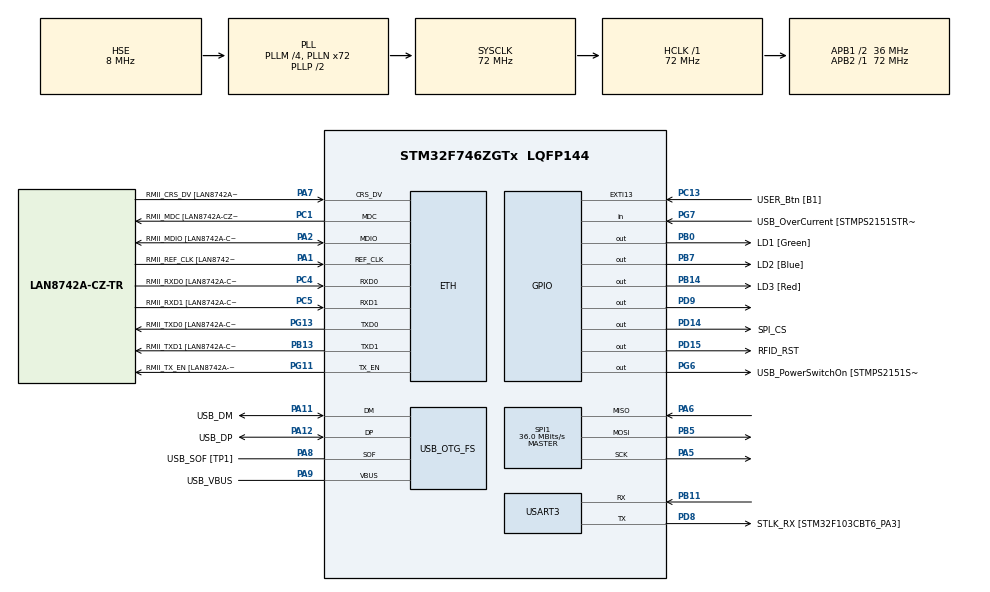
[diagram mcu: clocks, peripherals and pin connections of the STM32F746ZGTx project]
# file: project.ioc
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ETH.MediaInterface=ETH_MEDIA_INTERFACE_RMII
ETH.PHY_Name=LAN8742A_PHY_ADDRESS
ETH.PHY_Value=0
ETH.PhyAddress=0
FREERTOS.Tasks01=defaultTask,0,128,StartDefaultTask,Default,NULL
LWIP.Version=v2.0.3_Cube
Mcu.Family=STM32F7
Mcu.Name=STM32F746ZGTx
Mcu.Package=LQFP144
NVIC.ETH_IRQn=true\:5\:0\:false\:false\:true\:true\:false
NVIC.PriorityGroup=NVIC_PRIORITYGROUP_4
NVIC.TIM1_UP_TIM10_IRQn=true\:0\:0\:false\:false\:true\:false\:false
NVIC.TimeBase=TIM1_UP_TIM10_IRQn
NVIC.TimeBaseIP=TIM1
PA1.GPIO_Label=RMII_REF_CLK [LAN8742A-CZ-TR_REFCLK0]
PA1.Mode=RMII
PA1.Signal=ETH_REF_CLK
PA10.GPIO_Label=USB_ID
PA10.Signal=USB_OTG_FS_ID
PA11.GPIO_Label=USB_DM
PA11.Mode=Device_Only
PA11.Signal=USB_OTG_FS_DM
PA12.GPIO_Label=USB_DP
PA12.Mode=Device_Only
PA12.Signal=USB_OTG_FS_DP
PA13.GPIO_Label=TMS
PA13.Mode=Serial_Wire
PA13.Signal=SYS_JTMS-SWDIO
PA14.GPIO_Label=TCK
PA14.Mode=Serial_Wire
PA14.Signal=SYS_JTCK-SWCLK
PA2.GPIO_Label=RMII_MDIO [LAN8742A-CZ-TR_MDIO]
PA2.Mode=RMII
PA2.Signal=ETH_MDIO
PA5.Mode=Full_Duplex_Master
PA5.Signal=SPI1_SCK
PA6.Mode=Full_Duplex_Master
PA6.Signal=SPI1_MISO
PA7.GPIO_Label=RMII_CRS_DV [LAN8742A-CZ-TR_CRS_DV]
PA7.Mode=RMII
PA7.Signal=ETH_CRS_DV
PA8.GPIO_Label=USB_SOF [TP1]
PA8.Mode=Activate_SOF_FS
PA8.Signal=USB_OTG_FS_SOF
PA9.GPIO_Label=USB_VBUS
PA9.Mode=Activate_VBUS
PA9.Signal=USB_OTG_FS_VBUS
PB0.GPIO_Label=LD1 [Green]
PB0.Signal=GPIO_Output
PB11.Mode=Asynchronous
PB11.Signal=USART3_RX
PB13.GPIO_Label=RMII_TXD1 [LAN8742A-CZ-TR_TXD1]
PB13.Mode=RMII
PB13.Signal=ETH_TXD1
PB14.GPIO_Label=LD3 [Red]
PB14.Signal=GPIO_Output
PB3.GPIO_Label=SW0
PB3.Signal=SYS_JTDO-SWO
PB5.Mode=Full_Duplex_Master
PB5.Signal=SPI1_MOSI
PB7.GPIO_Label=LD2 [Blue]
PB7.Signal=GPIO_Output
PC1.GPIO_Label=RMII_MDC [LAN8742A-CZ-TR_MDC]
PC1.Mode=RMII
PC1.Signal=ETH_MDC
PC13.GPIO_Label=USER_Btn [B1]
PC13.Signal=GPXTI13
PC14/OSC32_IN.Mode=LSE-External-Oscillator
PC14/OSC32_IN.Signal=RCC_OSC32_IN
PC15/OSC32_OUT.Mode=LSE-External-Oscillator
PC15/OSC32_OUT.Signal=RCC_OSC32_OUT
PC4.GPIO_Label=RMII_RXD0 [LAN8742A-CZ-TR_RXD0]
PC4.Mode=RMII
PC4.Signal=ETH_RXD0
PC5.GPIO_Label=RMII_RXD1 [LAN8742A-CZ-TR_RXD1]
PC5.Mode=RMII
PC5.Signal=ETH_RXD1
PD14.GPIO_Label=SPI_CS
PD14.PinState=GPIO_PIN_SET
PD14.Signal=GPIO_Output
PD15.GPIO_Label=RFID_RST
PD15.PinState=GPIO_PIN_SET
PD15.Signal=GPIO_Output
PD8.GPIO_Label=STLK_RX [STM32F103CBT6_PA3]
PD8.Mode=Asynchronous
PD8.Signal=USART3_TX
PD9.Signal=GPIO_Output
PG11.GPIO_Label=RMII_TX_EN [LAN8742A-CZ-TR_TXEN]
PG11.Mode=RMII
PG11.Signal=ETH_TX_EN
PG13.GPIO_Label=RMII_TXD0 [LAN8742A-CZ-TR_TXD0]
PG13.Mode=RMII
PG13.Signal=ETH_TXD0
PG6.GPIO_Label=USB_PowerSwitchOn [STMPS2151STR_EN]
PG6.Signal=GPIO_Output
PG7.GPIO_Label=USB_OverCurrent [STMPS2151STR_FAULT]
PG7.Signal=GPIO_Input
PH0/OSC_IN.GPIO_Label=MCO [STM32F103CBT6_PA8]
PH0/OSC_IN.Mode=HSE-External-Clock-Source
PH0/OSC_IN.Signal=RCC_OSC_IN
PH1/OSC_OUT.Mode=HSE-External-Clock-Source
PH1/OSC_OUT.Signal=RCC_OSC_OUT
ProjectManager.HeapSize=0x200
ProjectManager.StackSize=0x400
ProjectManager.TargetToolchain=TrueSTUDIO
RCC.48MHZClocksFreq_Value=24000000
RCC.AHBFreq_Value=72000000
RCC.APB1CLKDivider=RCC_HCLK_DIV2
RCC.APB1Freq_Value=36000000
RCC.APB1TimFreq_Value=72000000
RCC.APB2Freq_Value=72000000
RCC.APB2TimFreq_Value=72000000
RCC.CortexFreq_Value=72000000
RCC.HCLKFreq_Value=72000000
RCC.HSE_VALUE=8000000
RCC.HSI_VALUE=16000000
RCC.PLLM=4
RCC.PLLMUL=RCC_PLL_MUL9
RCC.PLLN=72
RCC.PLLQ=3
RCC.PRESCALERUSB=RCC_USBCLKSOURCE_PLL_DIV1_5
RCC.SYSCLKFreq_VALUE=72000000
RCC.SYSCLKSource=RCC_SYSCLKSOURCE_PLLCLK
RCC.SYSCLKSourceVirtual=RCC_SYSCLKSOURCE_PLLCLK
RCC.USBFreq_Value=48000000
RCC.VCOOutputFreq_Value=144000000
SPI1.CalculateBaudRate=36.0 MBits/s
SPI1.Direction=SPI_DIRECTION_2LINES
SPI1.Mode=SPI_MODE_MASTER
SPI1.VirtualType=VM_MASTER
USART3.VirtualMode-Asynchronous=VM_ASYNC
USB_OTG_FS.VirtualMode=Device_Only
VP_FREERTOS_VS_ENABLE.Mode=Enabled
VP_LWIP_VS_Enabled.Mode=Enabled
VP_SYS_VS_tim1.Mode=TIM1
board=NUCLEO-F746ZG

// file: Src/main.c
/**
  ******************************************************************************
  * @file           : main.c
  * @brief          : Main program body
  ******************************************************************************
  * This notice applies to any and all portions of this file
  * that are not between comment pairs USER CODE BEGIN and
  * USER CODE END. Other portions of this file, whether
  * inserted by the user or by software development tools
  * are owned by their respective copyright owners.
  *
  * Copyright (c) 2018 STMicroelectronics International N.V.
  * All rights reserved.
  *
  * Redistribution and use in source and binary forms, with or without
  * modification, are permitted, provided that the following conditions are met:
  *
  * 1. Redistribution of source code must retain the above copyright notice,
  *    this list of conditions and the following disclaimer.
  * 2. Redistributions in binary form must reproduce the above copyright notice,
  *    this list of conditions and the following disclaimer in the documentation
  *    and/or other materials provided with the distribution.
  * 3. Neither the name of STMicroelectronics nor the names of other
  *    contributors to this software may be used to endorse or promote products
  *    derived from this software without specific written permission.
  * 4. This software, including modifications and/or derivative works of this
  *    software, must execute solely and exclusively on microcontroller or
  *    microprocessor devices manufactured by or for STMicroelectronics.
  * 5. Redistribution and use of this software other than as permitted under
  *    this license is void and will automatically terminate your rights under
  *    this license.
  *
  * THIS SOFTWARE IS PROVIDED BY STMICROELECTRONICS AND CONTRIBUTORS "AS IS"
  * AND ANY EXPRESS, IMPLIED OR STATUTORY WARRANTIES, INCLUDING, BUT NOT
  * LIMITED TO, THE IMPLIED WARRANTIES OF MERCHANTABILITY, FITNESS FOR A
  * PARTICULAR PURPOSE AND NON-INFRINGEMENT OF THIRD PARTY INTELLECTUAL PROPERTY
  * RIGHTS ARE DISCLAIMED TO THE FULLEST EXTENT PERMITTED BY LAW. IN NO EVENT
  * SHALL STMICROELECTRONICS OR CONTRIBUTORS BE LIABLE FOR ANY DIRECT, INDIRECT,
  * INCIDENTAL, SPECIAL, EXEMPLARY, OR CONSEQUENTIAL DAMAGES (INCLUDING, BUT NOT
  * LIMITED TO, PROCUREMENT OF SUBSTITUTE GOODS OR SERVICES; LOSS OF USE, DATA,
  * OR PROFITS; OR BUSINESS INTERRUPTION) HOWEVER CAUSED AND ON ANY THEORY OF
  * LIABILITY, WHETHER IN CONTRACT, STRICT LIABILITY, OR TORT (INCLUDING
  * NEGLIGENCE OR OTHERWISE) ARISING IN ANY WAY OUT OF THE USE OF THIS SOFTWARE,
  * EVEN IF ADVISED OF THE POSSIBILITY OF SUCH DAMAGE.
  *
  ******************************************************************************
  */
#include "main.h"
#include "stm32f7xx_hal.h"
#include "cmsis_os.h"
#include "lwip.h"

/* USER CODE BEGIN Includes */

#include "rfid-rc522.h"
#include "term_io.h"
#include "httpserver-netconn.h"
#include "tag_scanner.h"

/* USER CODE END Includes */

SPI_HandleTypeDef hspi1;
UART_HandleTypeDef huart3;
PCD_HandleTypeDef hpcd_USB_OTG_FS;
osThreadId defaultTaskHandle;

/* USER CODE BEGIN PV */
/* Private variables ---------------------------------------------------------*/
extern struct netif gnetif;
int privilage_status = OTHER_PRIVILAGE;
int add_admin = NOT_ACTIVE;

/* USER CODE END PV */

void SystemClock_Config(void);
static void MX_GPIO_Init(void);
static void MX_USB_OTG_FS_PCD_Init(void);
static void MX_SPI1_Init(void);
static void MX_USART3_UART_Init(void);
void StartDefaultTask(void const * argument);

/* USER CODE BEGIN PFP */
/* Private function prototypes -----------------------------------------------*/

/* USER CODE END PFP */

int main(void)
{

  /* MCU Configuration----------------------------------------------------------*/

  /* Reset of all peripherals, Initializes the Flash interface and the Systick. */
  HAL_Init();

  /* Configure the system clock */
  SystemClock_Config();

  /* Initialize all configured peripherals */
  MX_GPIO_Init();
  MX_USB_OTG_FS_PCD_Init();
  MX_SPI1_Init();
  MX_USART3_UART_Init();

  /* USER CODE BEGIN 2 */
  RFID_RC522_Init();
  debug_init(&huart3);

  /* USER CODE END 2 */

  /* Create the thread(s) */
  /* definition and creation of defaultTask */
  osThreadDef(defaultTask, StartDefaultTask, osPriorityNormal, 0, 128);
  defaultTaskHandle = osThreadCreate(osThread(defaultTask), NULL);

  /* Start scheduler */
  osKernelStart();

  /* We should never get here as control is now taken by the scheduler */

  /* Infinite loop */
  while (1)
  {

  }

}

void SystemClock_Config(void)
{

  RCC_OscInitTypeDef RCC_OscInitStruct;
  RCC_ClkInitTypeDef RCC_ClkInitStruct;
  RCC_PeriphCLKInitTypeDef PeriphClkInitStruct;

    /**Configure the main internal regulator output voltage
    */
  __HAL_RCC_PWR_CLK_ENABLE();

  __HAL_PWR_VOLTAGESCALING_CONFIG(PWR_REGULATOR_VOLTAGE_SCALE3);

    /**Initializes the CPU, AHB and APB busses clocks
    */
  RCC_OscInitStruct.OscillatorType = RCC_OSCILLATORTYPE_HSE;
  RCC_OscInitStruct.HSEState = RCC_HSE_BYPASS;
  RCC_OscInitStruct.PLL.PLLState = RCC_PLL_ON;
  RCC_OscInitStruct.PLL.PLLSource = RCC_PLLSOURCE_HSE;
  RCC_OscInitStruct.PLL.PLLM = 4;
  RCC_OscInitStruct.PLL.PLLN = 72;
  RCC_OscInitStruct.PLL.PLLP = RCC_PLLP_DIV2;
  RCC_OscInitStruct.PLL.PLLQ = 3;
  if (HAL_RCC_OscConfig(&RCC_OscInitStruct) != HAL_OK)
  {
    _Error_Handler(__FILE__, __LINE__);
  }

    /**Initializes the CPU, AHB and APB busses clocks
    */
  RCC_ClkInitStruct.ClockType = RCC_CLOCKTYPE_HCLK|RCC_CLOCKTYPE_SYSCLK
                              |RCC_CLOCKTYPE_PCLK1|RCC_CLOCKTYPE_PCLK2;
  RCC_ClkInitStruct.SYSCLKSource = RCC_SYSCLKSOURCE_PLLCLK;
  RCC_ClkInitStruct.AHBCLKDivider = RCC_SYSCLK_DIV1;
  RCC_ClkInitStruct.APB1CLKDivider = RCC_HCLK_DIV2;
  RCC_ClkInitStruct.APB2CLKDivider = RCC_HCLK_DIV1;

  if (HAL_RCC_ClockConfig(&RCC_ClkInitStruct, FLASH_LATENCY_2) != HAL_OK)
  {
    _Error_Handler(__FILE__, __LINE__);
  }

  PeriphClkInitStruct.PeriphClockSelection = RCC_PERIPHCLK_USART3|RCC_PERIPHCLK_CLK48;
  PeriphClkInitStruct.Usart3ClockSelection = RCC_USART3CLKSOURCE_PCLK1;
  PeriphClkInitStruct.Clk48ClockSelection = RCC_CLK48SOURCE_PLL;
  if (HAL_RCCEx_PeriphCLKConfig(&PeriphClkInitStruct) != HAL_OK)
  {
    _Error_Handler(__FILE__, __LINE__);
  }

    /**Configure the Systick interrupt time
    */
  HAL_SYSTICK_Config(HAL_RCC_GetHCLKFreq()/1000);

    /**Configure the Systick
    */
  HAL_SYSTICK_CLKSourceConfig(SYSTICK_CLKSOURCE_HCLK);

  /* SysTick_IRQn interrupt configuration */
  HAL_NVIC_SetPriority(SysTick_IRQn, 15, 0);
}

/* SPI1 init function */
static void MX_SPI1_Init(void)
{

  /* SPI1 parameter configuration*/
  hspi1.Instance = SPI1;
  hspi1.Init.Mode = SPI_MODE_MASTER;
  hspi1.Init.Direction = SPI_DIRECTION_2LINES;
  hspi1.Init.DataSize = SPI_DATASIZE_8BIT;
  hspi1.Init.CLKPolarity = SPI_POLARITY_LOW;
  hspi1.Init.CLKPhase = SPI_PHASE_1EDGE;
  hspi1.Init.NSS = SPI_NSS_SOFT;
  hspi1.Init.BaudRatePrescaler = SPI_BAUDRATEPRESCALER_32;
  hspi1.Init.FirstBit = SPI_FIRSTBIT_MSB;
  hspi1.Init.TIMode = SPI_TIMODE_DISABLE;
  hspi1.Init.CRCCalculation = SPI_CRCCALCULATION_DISABLE;
  hspi1.Init.CRCPolynomial = 7;
  hspi1.Init.CRCLength = SPI_CRC_LENGTH_DATASIZE;
  hspi1.Init.NSSPMode = SPI_NSS_PULSE_ENABLE;
  if (HAL_SPI_Init(&hspi1) != HAL_OK)
  {
    _Error_Handler(__FILE__, __LINE__);
  }

}

/* USART3 init function */
static void MX_USART3_UART_Init(void)
{

  huart3.Instance = USART3;
  huart3.Init.BaudRate = 115200;
  huart3.Init.WordLength = UART_WORDLENGTH_8B;
  huart3.Init.StopBits = UART_STOPBITS_1;
  huart3.Init.Parity = UART_PARITY_NONE;
  huart3.Init.Mode = UART_MODE_TX_RX;
  huart3.Init.HwFlowCtl = UART_HWCONTROL_NONE;
  huart3.Init.OverSampling = UART_OVERSAMPLING_16;
  huart3.Init.OneBitSampling = UART_ONE_BIT_SAMPLE_DISABLE;
  huart3.AdvancedInit.AdvFeatureInit = UART_ADVFEATURE_NO_INIT;
  if (HAL_UART_Init(&huart3) != HAL_OK)
  {
    _Error_Handler(__FILE__, __LINE__);
  }

}

/* USB_OTG_FS init function */
static void MX_USB_OTG_FS_PCD_Init(void)
{

  hpcd_USB_OTG_FS.Instance = USB_OTG_FS;
  hpcd_USB_OTG_FS.Init.dev_endpoints = 6;
  hpcd_USB_OTG_FS.Init.speed = PCD_SPEED_FULL;
  hpcd_USB_OTG_FS.Init.dma_enable = DISABLE;
  hpcd_USB_OTG_FS.Init.ep0_mps = DEP0CTL_MPS_64;
  hpcd_USB_OTG_FS.Init.phy_itface = PCD_PHY_EMBEDDED;
  hpcd_USB_OTG_FS.Init.Sof_enable = ENABLE;
  hpcd_USB_OTG_FS.Init.low_power_enable = DISABLE;
  hpcd_USB_OTG_FS.Init.lpm_enable = DISABLE;
  hpcd_USB_OTG_FS.Init.vbus_sensing_enable = ENABLE;
  hpcd_USB_OTG_FS.Init.use_dedicated_ep1 = DISABLE;
  if (HAL_PCD_Init(&hpcd_USB_OTG_FS) != HAL_OK)
  {
    _Error_Handler(__FILE__, __LINE__);
  }

}

/** Configure pins as
        * Analog
        * Input
        * Output
        * EVENT_OUT
        * EXTI
*/
static void MX_GPIO_Init(void)
{

  GPIO_InitTypeDef GPIO_InitStruct;

  /* GPIO Ports Clock Enable */
  __HAL_RCC_GPIOC_CLK_ENABLE();
  __HAL_RCC_GPIOH_CLK_ENABLE();
  __HAL_RCC_GPIOA_CLK_ENABLE();
  __HAL_RCC_GPIOB_CLK_ENABLE();
  __HAL_RCC_GPIOD_CLK_ENABLE();
  __HAL_RCC_GPIOG_CLK_ENABLE();

  /*Configure GPIO pin Output Level */
  HAL_GPIO_WritePin(GPIOB, LD1_Pin|LD3_Pin|LD2_Pin, GPIO_PIN_RESET);

  /*Configure GPIO pin Output Level */
  HAL_GPIO_WritePin(GPIOD, GPIO_PIN_9, GPIO_PIN_RESET);

  /*Configure GPIO pin Output Level */
  HAL_GPIO_WritePin(GPIOD, SPI_CS_Pin|RFID_RST_Pin, GPIO_PIN_SET);

  /*Configure GPIO pin Output Level */
  HAL_GPIO_WritePin(USB_PowerSwitchOn_GPIO_Port, USB_PowerSwitchOn_Pin, GPIO_PIN_RESET);

  /*Configure GPIO pin : USER_Btn_Pin */
  GPIO_InitStruct.Pin = USER_Btn_Pin;
  GPIO_InitStruct.Mode = GPIO_MODE_IT_RISING;
  GPIO_InitStruct.Pull = GPIO_NOPULL;
  HAL_GPIO_Init(USER_Btn_GPIO_Port, &GPIO_InitStruct);

  /*Configure GPIO pins : LD1_Pin LD3_Pin LD2_Pin */
  GPIO_InitStruct.Pin = LD1_Pin|LD3_Pin|LD2_Pin;
  GPIO_InitStruct.Mode = GPIO_MODE_OUTPUT_PP;
  GPIO_InitStruct.Pull = GPIO_NOPULL;
  GPIO_InitStruct.Speed = GPIO_SPEED_FREQ_LOW;
  HAL_GPIO_Init(GPIOB, &GPIO_InitStruct);

  /*Configure GPIO pins : PD9 SPI_CS_Pin RFID_RST_Pin */
  GPIO_InitStruct.Pin = GPIO_PIN_9|SPI_CS_Pin|RFID_RST_Pin;
  GPIO_InitStruct.Mode = GPIO_MODE_OUTPUT_PP;
  GPIO_InitStruct.Pull = GPIO_NOPULL;
  GPIO_InitStruct.Speed = GPIO_SPEED_FREQ_LOW;
  HAL_GPIO_Init(GPIOD, &GPIO_InitStruct);

  /*Configure GPIO pin : USB_PowerSwitchOn_Pin */
  GPIO_InitStruct.Pin = USB_PowerSwitchOn_Pin;
  GPIO_InitStruct.Mode = GPIO_MODE_OUTPUT_PP;
  GPIO_InitStruct.Pull = GPIO_NOPULL;
  GPIO_InitStruct.Speed = GPIO_SPEED_FREQ_LOW;
  HAL_GPIO_Init(USB_PowerSwitchOn_GPIO_Port, &GPIO_InitStruct);

  /*Configure GPIO pin : USB_OverCurrent_Pin */
  GPIO_InitStruct.Pin = USB_OverCurrent_Pin;
  GPIO_InitStruct.Mode = GPIO_MODE_INPUT;
  GPIO_InitStruct.Pull = GPIO_NOPULL;
  HAL_GPIO_Init(USB_OverCurrent_GPIO_Port, &GPIO_InitStruct);

}

/* USER CODE BEGIN 4 */

//tmp
//int check_tag_if_admin(char * CardID) {
//
//	if(strcmp(CardID, "0xc48150d3") == 0)
//		return 1;
//	return 0;
//}

/* USER CODE END 4 */

void StartDefaultTask(void const * argument)
{
  /* init code for LWIP */
  MX_LWIP_Init();

  /* USER CODE BEGIN 5 */

  xprintf("Start!! <3\n\r");

  while(gnetif.ip_addr.addr == 0)
  {
	  osDelay(1000);
	  xprintf("Waiting for ip...\n\r");
  }
  xprintf("Our ip address is: %u.%u.%u.%u\n\r\n\r",
		  ip4_addr1(&gnetif.ip_addr),
		  ip4_addr2(&gnetif.ip_addr),
		  ip4_addr3(&gnetif.ip_addr),
		  ip4_addr4(&gnetif.ip_addr));
  xprintf("Connect to: %u.%u.%u.%u:80/index.html\n\r\n\r",
  		  ip4_addr1(&gnetif.ip_addr),
  		  ip4_addr2(&gnetif.ip_addr),
  		  ip4_addr3(&gnetif.ip_addr),
  		  ip4_addr4(&gnetif.ip_addr));
  osDelay(1000);
  http_server_netconn_init();
  tag_scanner_init();

  /* Infinite loop */
  for(;;)
  {
    osDelay(120000); // wait 2 minutes, then change privileges to other
  }
  /* USER CODE END 5 */
}

void HAL_TIM_PeriodElapsedCallback(TIM_HandleTypeDef *htim)
{
  if (htim->Instance == TIM1) {
    HAL_IncTick();
  }
}

void _Error_Handler(char *file, int line)
{
  while(1)
  {
  }
}

/************************ (C) COPYRIGHT STMicroelectronics *****END OF FILE****/
